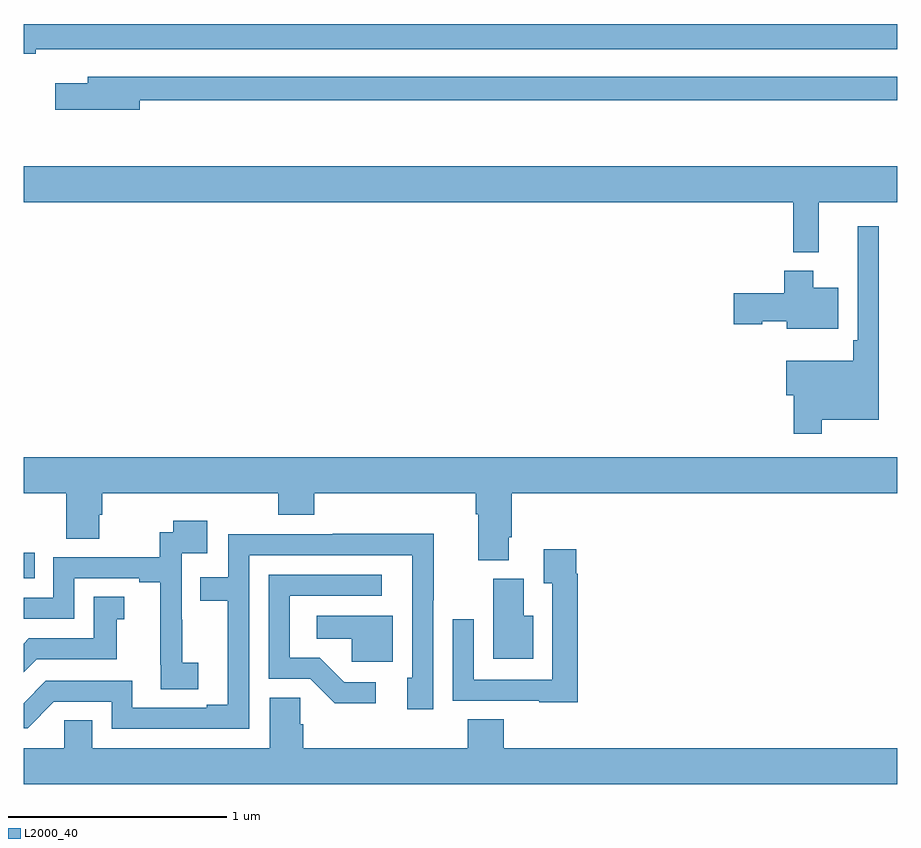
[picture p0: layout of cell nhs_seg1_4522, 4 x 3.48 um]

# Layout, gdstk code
import gdstk
lib = gdstk.Library(unit=1e-6, precision=1e-09)
def R(c, l, rs):  # rectangles x0, y0, x1, y1
    for r in rs: c.add(gdstk.rectangle(r[:2], r[2:], *l))
def P(c, l, *ps):  # polygons
    for p in ps: c.add(gdstk.Polygon(p, *l))
L2000_40 = (2000, 40)

nhs_seg1_4522 = lib.new_cell('nhs_seg1_4522')
R(nhs_seg1_4522, L2000_40, [(357,527.367,357.05,527.482)])
P(nhs_seg1_4522, L2000_40, [(357.056,529.788),(361,529.788),(361,529.904),(357,529.904),(357,529.768),(357.056,529.768)],
  [(357.532,529.554),(361,529.554),(361,529.662),(357.293,529.662),(357.293,529.633),(357.144,529.633),(357.144,529.511),(357.532,529.511)],
  [(360.641,529.088),(361,529.088),(361,529.252),(357,529.252),(357,529.088),(360.523,529.088),(360.523,528.86),(360.641,528.86)],
  [(360.655,528.092),(360.916,528.092),(360.916,528.979),(360.819,528.979),(360.819,528.457),(360.799,528.457),(360.799,528.361),(360.492,528.361),(360.492,528.203),(360.526,528.203),(360.526,528.027),(360.655,528.027)],
  [(360.73,528.697),(360.616,528.697),(360.616,528.775),(360.482,528.775),(360.482,528.672),(360.252,528.672),(360.252,528.53),(360.381,528.53),(360.381,528.542),(360.494,528.542),(360.494,528.509),(360.73,528.509)],
  [(357,527.756),(357.194,527.756),(357.194,527.548),(357.346,527.548),(357.346,527.658),(357.359,527.658),(357.359,527.756),(358.166,527.756),(358.166,527.657),(358.331,527.657),(358.331,527.756),(359.069,527.756),(359.069,527.66),(359.081,527.66),(359.081,527.449),(359.221,527.449),(359.221,527.554),(359.234,527.554),(359.234,527.756),(361,527.756),(361,527.92),(357,527.92)],
  [(357.799,526.98),(357.725,526.98),(357.725,527.177),(357.723,527.177),(357.723,527.481),(357.841,527.481),(357.841,527.629),(357.685,527.629),(357.685,527.577),(357.622,527.577),(357.622,527.463),(357.135,527.463),(357.135,527.277),(357,527.277),(357,527.181),(357.231,527.181),(357.231,527.367),(357.53,527.367),(357.53,527.347),(357.626,527.347),(357.626,526.969),(357.628,526.969),(357.628,526.858),(357.799,526.858)],
  [(358.032,527.472),(358.779,527.472),(358.779,526.911),(358.757,526.911),(358.757,526.767),(358.875,526.767),(358.875,527.266),(358.877,527.266),(358.877,527.57),(358.414,527.57),(358.414,527.568),(357.936,527.568),(357.936,527.37),(357.808,527.37),(357.808,527.262),(357.935,527.262),(357.935,526.788),(357.839,526.788),(357.839,526.773),(357.498,526.773),(357.498,526.896),(357.102,526.896),(357,526.794),(357,526.68),(357.018,526.68),(357.138,526.8),(357.402,526.8),(357.402,526.677),(358.032,526.677)],
  [(359.537,527.387),(359.53,527.387),(359.53,527.5),(359.381,527.5),(359.381,527.344),(359.421,527.344),(359.421,526.902),(359.061,526.902),(359.061,527.179),(358.965,527.179),(358.965,526.806),(359.361,526.806),(359.361,526.799),(359.537,526.799)],
  [(358.612,526.89),(358.467,526.89),(358.356,527.001),(358.218,527.001),(358.218,527.286),(358.639,527.286),(358.639,527.382),(358.122,527.382),(358.122,526.905),(358.311,526.905),(358.424,526.793),(358.612,526.793)],
  [(359.332,527.194),(359.29,527.194),(359.29,527.364),(359.15,527.364),(359.15,526.997),(359.332,526.997)],
  [(357.06,526.995),(357.427,526.995),(357.427,527.179),(357.46,527.179),(357.46,527.282),(357.32,527.282),(357.32,527.091),(357.024,527.091),(357,527.067),(357,526.935)],
  [(358.69,527.194),(358.341,527.194),(358.341,527.09),(358.503,527.09),(358.503,526.983),(358.69,526.983)],
  [(361,526.588),(359.198,526.588),(359.198,526.721),(359.033,526.721),(359.033,526.588),(358.28,526.588),(358.28,526.697),(358.266,526.697),(358.266,526.82),(358.127,526.82),(358.127,526.588),(357.313,526.588),(357.313,526.715),(357.186,526.715),(357.186,526.588),(357,526.588),(357,526.424),(361,526.424)])

lib.write_gds('nhs_seg1_4522.gds')
